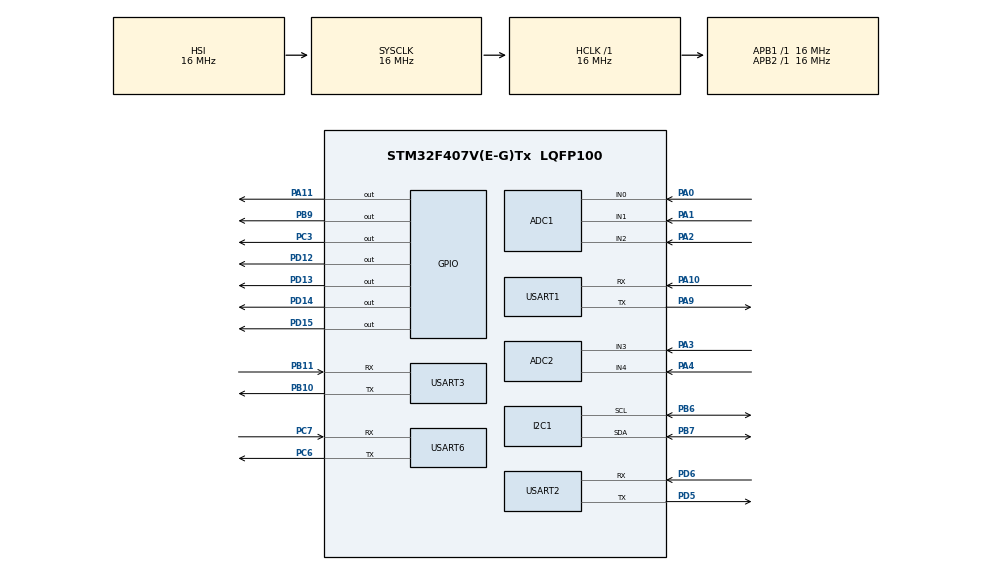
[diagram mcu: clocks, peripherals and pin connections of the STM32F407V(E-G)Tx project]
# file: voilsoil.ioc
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ADC1.Channel-0\#ChannelRegularConversion=ADC_CHANNEL_0
ADC1.Channel-1\#ChannelRegularConversion=ADC_CHANNEL_1
ADC1.Channel-2\#ChannelRegularConversion=ADC_CHANNEL_2
ADC1.NbrOfConversion=3
ADC1.NbrOfConversionFlag=1
ADC1.Rank-0\#ChannelRegularConversion=1
ADC1.Rank-1\#ChannelRegularConversion=2
ADC1.Rank-2\#ChannelRegularConversion=3
ADC1.SamplingTime-0\#ChannelRegularConversion=ADC_SAMPLETIME_3CYCLES
ADC1.SamplingTime-1\#ChannelRegularConversion=ADC_SAMPLETIME_3CYCLES
ADC1.SamplingTime-2\#ChannelRegularConversion=ADC_SAMPLETIME_3CYCLES
ADC1.ScanConvMode=ENABLE
ADC1.master=1
ADC2.Channel-1\#ChannelRegularConversion=ADC_CHANNEL_3
ADC2.Channel-2\#ChannelRegularConversion=ADC_CHANNEL_4
ADC2.NbrOfConversion=2
ADC2.NbrOfConversionFlag=1
ADC2.Rank-1\#ChannelRegularConversion=1
ADC2.Rank-2\#ChannelRegularConversion=2
ADC2.SamplingTime-1\#ChannelRegularConversion=ADC_SAMPLETIME_3CYCLES
ADC2.SamplingTime-2\#ChannelRegularConversion=ADC_SAMPLETIME_3CYCLES
ADC2.ScanConvMode=ENABLE
Dma.ADC1.0.Direction=DMA_PERIPH_TO_MEMORY
Dma.ADC1.0.FIFOMode=DMA_FIFOMODE_DISABLE
Dma.ADC1.0.Instance=DMA2_Stream0
Dma.ADC1.0.MemDataAlignment=DMA_MDATAALIGN_HALFWORD
Dma.ADC1.0.MemInc=DMA_MINC_ENABLE
Dma.ADC1.0.Mode=DMA_NORMAL
Dma.ADC1.0.PeriphDataAlignment=DMA_PDATAALIGN_HALFWORD
Dma.ADC1.0.PeriphInc=DMA_PINC_DISABLE
Dma.ADC1.0.Priority=DMA_PRIORITY_LOW
Dma.ADC2.1.Direction=DMA_PERIPH_TO_MEMORY
Dma.ADC2.1.FIFOMode=DMA_FIFOMODE_DISABLE
Dma.ADC2.1.Instance=DMA2_Stream2
Dma.ADC2.1.MemDataAlignment=DMA_MDATAALIGN_HALFWORD
Dma.ADC2.1.MemInc=DMA_MINC_ENABLE
Dma.ADC2.1.Mode=DMA_NORMAL
Dma.ADC2.1.PeriphDataAlignment=DMA_PDATAALIGN_HALFWORD
Dma.ADC2.1.PeriphInc=DMA_PINC_DISABLE
Dma.ADC2.1.Priority=DMA_PRIORITY_LOW
Dma.Request0=ADC1
Dma.Request1=ADC2
Mcu.Family=STM32F4
Mcu.Name=STM32F407V(E-G)Tx
Mcu.Package=LQFP100
NVIC.ADC_IRQn=true\:1\:0\:true\:false\:true\:true\:true\:true
NVIC.DMA2_Stream0_IRQn=true\:0\:0\:false\:false\:true\:false\:true\:true
NVIC.DMA2_Stream2_IRQn=true\:0\:0\:false\:false\:true\:false\:true\:true
NVIC.PriorityGroup=NVIC_PRIORITYGROUP_4
NVIC.TIM2_IRQn=true\:0\:0\:false\:false\:true\:true\:true\:true
NVIC.TIM3_IRQn=true\:0\:0\:false\:false\:true\:true\:true\:true
NVIC.TIM4_IRQn=true\:0\:0\:false\:false\:true\:true\:true\:true
PA0-WKUP.Signal=ADCx_IN0
PA1.Signal=ADCx_IN1
PA10.Mode=Asynchronous
PA10.Signal=USART1_RX
PA11.Signal=GPIO_Output
PA13.Mode=Serial_Wire
PA13.Signal=SYS_JTMS-SWDIO
PA14.Mode=Serial_Wire
PA14.Signal=SYS_JTCK-SWCLK
PA2.Signal=ADCx_IN2
PA3.Signal=ADCx_IN3
PA4.Signal=ADCx_IN4
PA9.Mode=Asynchronous
PA9.Signal=USART1_TX
PB10.Mode=Asynchronous
PB10.Signal=USART3_TX
PB11.Mode=Asynchronous
PB11.Signal=USART3_RX
PB6.Mode=I2C
PB6.Signal=I2C1_SCL
PB7.Mode=I2C
PB7.Signal=I2C1_SDA
PB9.GPIO_PuPd=GPIO_PULLUP
PB9.Signal=GPIO_Output
PC14-OSC32_IN.Mode=LSE-External-Oscillator
PC14-OSC32_IN.Signal=RCC_OSC32_IN
PC15-OSC32_OUT.Mode=LSE-External-Oscillator
PC15-OSC32_OUT.Signal=RCC_OSC32_OUT
PC3.Signal=GPIO_Output
PC6.Mode=Asynchronous
PC6.Signal=USART6_TX
PC7.Mode=Asynchronous
PC7.Signal=USART6_RX
PD12.Signal=GPIO_Output
PD13.Signal=GPIO_Output
PD14.Signal=GPIO_Output
PD15.Signal=GPIO_Output
PD5.Mode=Asynchronous
PD5.Signal=USART2_TX
PD6.Mode=Asynchronous
PD6.Signal=USART2_RX
PH0-OSC_IN.Mode=HSE-External-Oscillator
PH0-OSC_IN.Signal=RCC_OSC_IN
PH1-OSC_OUT.Mode=HSE-External-Oscillator
PH1-OSC_OUT.Signal=RCC_OSC_OUT
ProjectManager.HeapSize=0x200
ProjectManager.StackSize=0x400
ProjectManager.TargetToolchain=STM32CubeIDE
RCC.AHBFreq_Value=16000000
RCC.APB1Freq_Value=16000000
RCC.APB2Freq_Value=16000000
RCC.CortexFreq_Value=16000000
RCC.HSE_VALUE=25000000
RCC.HSI_VALUE=16000000
RCC.SYSCLKFreq_VALUE=16000000
RCC.VCOOutputFreq_Value=192000000
SH.ADCx_IN0.0=ADC1_IN0,IN0
SH.ADCx_IN1.0=ADC1_IN1,IN1
SH.ADCx_IN2.0=ADC1_IN2,IN2
SH.ADCx_IN3.0=ADC2_IN3,IN3
SH.ADCx_IN4.0=ADC2_IN4,IN4
TIM1.Period=20000
TIM1.Prescaler=7220
TIM2.Period=2000
TIM2.Prescaler=7200
TIM3.Period=500
TIM3.Prescaler=7200
TIM4.Period=2000
TIM4.Prescaler=7200
USART1.VirtualMode=VM_ASYNC
USART2.VirtualMode=VM_ASYNC
USART3.VirtualMode=VM_ASYNC
USART6.VirtualMode=VM_ASYNC
VP_TIM1_VS_ClockSourceINT.Mode=Internal
VP_TIM2_VS_ClockSourceINT.Mode=Internal
VP_TIM3_VS_ClockSourceINT.Mode=Internal
VP_TIM4_VS_ClockSourceINT.Mode=Internal
board=custom

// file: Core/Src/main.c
/* USER CODE BEGIN Header */
		/**
		  ******************************************************************************
		  * @file           : main.c
		  * @brief          : Main program body
		  ******************************************************************************
		  * @attention
		  *
		  * Copyright (c) 2025 STMicroelectronics.
		  * All rights reserved.
		  *
		  * This software is licensed under terms that can be found in the LICENSE file
		  * in the root directory of this software component.
		  * If no LICENSE file comes with this software, it is provided AS-IS.
		  *
		  ******************************************************************************
		  */
/* USER CODE END Header */
#include "main.h"

/* USER CODE BEGIN PD */

		#define DHT11_PORT GPIOB
		#define DHT11_PIN  GPIO_PIN_9
/* USER CODE END PD */

ADC_HandleTypeDef hadc1;
ADC_HandleTypeDef hadc2;
DMA_HandleTypeDef hdma_adc1;
DMA_HandleTypeDef hdma_adc2;

I2C_HandleTypeDef hi2c1;

TIM_HandleTypeDef htim1;
TIM_HandleTypeDef htim2;
TIM_HandleTypeDef htim3;
TIM_HandleTypeDef htim4;

UART_HandleTypeDef huart1;
UART_HandleTypeDef huart2;
UART_HandleTypeDef huart3;
UART_HandleTypeDef huart6;

/* USER CODE BEGIN PV */
/* USER CODE BEGIN PV */
uint32_t last_buzzer_toggle = 0;
uint8_t buzzer_state = 0; // 0 = off, 1 = on
/* USER CODE END PV */

		float ph = 0.0f;
		uint32_t adc_value;
		float voltage;

		uint16_t gaz;
		uint16_t pluit;
		uint16_t lum=0;
		char texto[50];
		#define ADC_REF_VOLTAGE 5.0f      // Your reference voltage
		#define ADC_RESOLUTION  4095.0f
		#define PH_SENSOR_THRESHOLD 100
		#define FLOATING_PIN_THRESHOLD 50

		#define V_REF 3.3f     // windspeed declaration #define V_REF 3.3f               // Reference voltage for ADC
		#define MAX_ADC 4095.0f          // Maximum ADC value for 12-bit
		#define ANEMOMETER_MIN_V 0.4f    // Voltage at 0 m/s wind speed
		#define ANEMOMETER_MAX_V 2.0f    // Voltage at maximum wind speed
		#define MAX_WIND_SPEED 32.4f     // Maximum measurable wind speed in m/s (adjust as needed)

		// Conversion constants
		#define VOLTS_PER_ADC (V_REF/MAX_ADC)

/* USER CODE END PV */

void SystemClock_Config(void);
static void MX_GPIO_Init(void);
static void MX_DMA_Init(void);
static void MX_ADC1_Init(void);
static void MX_I2C1_Init(void);
static void MX_USART1_UART_Init(void);
static void MX_TIM2_Init(void);
static void MX_ADC2_Init(void);
static void MX_TIM3_Init(void);
static void MX_TIM1_Init(void);
static void MX_TIM4_Init(void);
static void MX_USART2_UART_Init(void);
static void MX_USART3_UART_Init(void);
static void MX_USART6_UART_Init(void);
/* USER CODE BEGIN PFP */
		float calculate_wind_speed(uint32_t adc_val);
		void update_wind_speed(void);

/* USER CODE END PFP */

/* USER CODE BEGIN 0 */
		uint8_t convCompleted;
		void HAL_ADC_ConvCpltCallback(ADC_HandleTypeDef* hadc){
			convCompleted=1 ;
		}

		/**
		  * @brief Update wind speed measurements
		  */

		// If you want to print via UART (uncomment if you have UART configured)
		/*
		void print_wind_speed(void) {
			char buffer[50];
			sprintf(buffer, "Wind: %.1f m/s (%.1f km/h)\r\n", wind_speed_mps, wind_speed_kph);
			HAL_UART_Transmit(&huart2, (uint8_t*)buffer, strlen(buffer), HAL_MAX_DELAY);
		}
		*/

/* USER CODE END 0 */

int main(void)
{

  /* MCU Configuration--------------------------------------------------------*/

  /* Reset of all peripherals, Initializes the Flash interface and the Systick. */

	HAL_Init();

  /* Configure the system clock */
  SystemClock_Config();

  /* Initialize all configured peripherals */
  MX_GPIO_Init();
  MX_DMA_Init();
  MX_ADC1_Init();
  MX_I2C1_Init();
  MX_USART1_UART_Init();
  MX_TIM2_Init();
  MX_ADC2_Init();
  MX_TIM3_Init();
  MX_TIM1_Init();
  MX_TIM4_Init();
  MX_USART2_UART_Init();
  MX_USART3_UART_Init();
  MX_USART6_UART_Init();
  /* USER CODE BEGIN 2 */
		  BH1750_init();
		  uartx_write_text(&huart1, "INICIANDO\r\n");
			HAL_TIM_Base_Start_IT(&htim2);
			HAL_TIM_Base_Start_IT(&htim3);
			//  HAL_ADC_Start_DMA(&hadc1, (uint32_t*)rawVal, 2);
  /* USER CODE END 2 */

  /* Infinite loop */
			while (1)
			 {
				if(HAL_ADC_Start_DMA(&hadc1, (uint32_t*)rawVal, 3) == HAL_OK)
				        {
				            // Check each channel for unconnected pins
				            if(rawVal[0] < FLOATING_PIN_THRESHOLD) {
				                gaz = 0;
				                rawVal[0] = 0;
				            } else {
				                gaz = rawVal[0];
				            }

				            if(rawVal[1] < FLOATING_PIN_THRESHOLD) {
				                pluit = 0;
				                rawVal[1] = 0;
				            } else {
				                pluit = rawVal[1];
				            }

				        }
				 // Start ADC with DMA for all 3 channels
				        if(HAL_ADC_Start_DMA(&hadc2, (uint32_t*)rawVal1, 2) == HAL_OK)
				        {
				            // Check each channel for unconnected pins
				            if(rawVal1[0] < FLOATING_PIN_THRESHOLD) {
				                ph = 0;
				                rawVal1[0] = 0;
				            } else {
				                ph = (rawVal1[0] / ADC_RESOLUTION) * 14.0f;
				            }
				        }
			 }
}

void SystemClock_Config(void)
{
  RCC_OscInitTypeDef RCC_OscInitStruct = {0};
  RCC_ClkInitTypeDef RCC_ClkInitStruct = {0};

  /** Configure the main internal regulator output voltage
  */
  __HAL_RCC_PWR_CLK_ENABLE();
  __HAL_PWR_VOLTAGESCALING_CONFIG(PWR_REGULATOR_VOLTAGE_SCALE1);

  /** Initializes the RCC Oscillators according to the specified parameters
  * in the RCC_OscInitTypeDef structure.
  */
  RCC_OscInitStruct.OscillatorType = RCC_OSCILLATORTYPE_HSI;
  RCC_OscInitStruct.HSIState = RCC_HSI_ON;
  RCC_OscInitStruct.HSICalibrationValue = RCC_HSICALIBRATION_DEFAULT;
  RCC_OscInitStruct.PLL.PLLState = RCC_PLL_NONE;
  if (HAL_RCC_OscConfig(&RCC_OscInitStruct) != HAL_OK)
  {
    Error_Handler();
  }

  /** Initializes the CPU, AHB and APB buses clocks
  */
  RCC_ClkInitStruct.ClockType = RCC_CLOCKTYPE_HCLK|RCC_CLOCKTYPE_SYSCLK
                              |RCC_CLOCKTYPE_PCLK1|RCC_CLOCKTYPE_PCLK2;
  RCC_ClkInitStruct.SYSCLKSource = RCC_SYSCLKSOURCE_HSI;
  RCC_ClkInitStruct.AHBCLKDivider = RCC_SYSCLK_DIV1;
  RCC_ClkInitStruct.APB1CLKDivider = RCC_HCLK_DIV1;
  RCC_ClkInitStruct.APB2CLKDivider = RCC_HCLK_DIV1;

  if (HAL_RCC_ClockConfig(&RCC_ClkInitStruct, FLASH_LATENCY_0) != HAL_OK)
  {
    Error_Handler();
  }
}

static void MX_ADC1_Init(void)
{

  ADC_ChannelConfTypeDef sConfig = {0};

  /** Configure the global features of the ADC (Clock, Resolution, Data Alignment and number of conversion)
  */
  hadc1.Instance = ADC1;
  hadc1.Init.ClockPrescaler = ADC_CLOCK_SYNC_PCLK_DIV2;
  hadc1.Init.Resolution = ADC_RESOLUTION_12B;
  hadc1.Init.ScanConvMode = ENABLE;
  hadc1.Init.ContinuousConvMode = DISABLE;
  hadc1.Init.DiscontinuousConvMode = DISABLE;
  hadc1.Init.ExternalTrigConvEdge = ADC_EXTERNALTRIGCONVEDGE_NONE;
  hadc1.Init.ExternalTrigConv = ADC_SOFTWARE_START;
  hadc1.Init.DataAlign = ADC_DATAALIGN_RIGHT;
  hadc1.Init.NbrOfConversion = 3;
  hadc1.Init.DMAContinuousRequests = DISABLE;
  hadc1.Init.EOCSelection = ADC_EOC_SINGLE_CONV;
  if (HAL_ADC_Init(&hadc1) != HAL_OK)
  {
    Error_Handler();
  }

  /** Configure for the selected ADC regular channel its corresponding rank in the sequencer and its sample time.
  */
  sConfig.Channel = ADC_CHANNEL_0;
  sConfig.Rank = 1;
  sConfig.SamplingTime = ADC_SAMPLETIME_3CYCLES;
  if (HAL_ADC_ConfigChannel(&hadc1, &sConfig) != HAL_OK)
  {
    Error_Handler();
  }

  /** Configure for the selected ADC regular channel its corresponding rank in the sequencer and its sample time.
  */
  sConfig.Channel = ADC_CHANNEL_1;
  sConfig.Rank = 2;
  if (HAL_ADC_ConfigChannel(&hadc1, &sConfig) != HAL_OK)
  {
    Error_Handler();
  }

  /** Configure for the selected ADC regular channel its corresponding rank in the sequencer and its sample time.
  */
  sConfig.Channel = ADC_CHANNEL_2;
  sConfig.Rank = 3;
  if (HAL_ADC_ConfigChannel(&hadc1, &sConfig) != HAL_OK)
  {
    Error_Handler();
  }

}

static void MX_ADC2_Init(void)
{

  ADC_ChannelConfTypeDef sConfig = {0};

  /** Configure the global features of the ADC (Clock, Resolution, Data Alignment and number of conversion)
  */
  hadc2.Instance = ADC2;
  hadc2.Init.ClockPrescaler = ADC_CLOCK_SYNC_PCLK_DIV2;
  hadc2.Init.Resolution = ADC_RESOLUTION_12B;
  hadc2.Init.ScanConvMode = ENABLE;
  hadc2.Init.ContinuousConvMode = DISABLE;
  hadc2.Init.DiscontinuousConvMode = DISABLE;
  hadc2.Init.ExternalTrigConvEdge = ADC_EXTERNALTRIGCONVEDGE_NONE;
  hadc2.Init.ExternalTrigConv = ADC_SOFTWARE_START;
  hadc2.Init.DataAlign = ADC_DATAALIGN_RIGHT;
  hadc2.Init.NbrOfConversion = 2;
  hadc2.Init.DMAContinuousRequests = DISABLE;
  hadc2.Init.EOCSelection = ADC_EOC_SINGLE_CONV;
  if (HAL_ADC_Init(&hadc2) != HAL_OK)
  {
    Error_Handler();
  }

  /** Configure for the selected ADC regular channel its corresponding rank in the sequencer and its sample time.
  */
  sConfig.Channel = ADC_CHANNEL_3;
  sConfig.Rank = 1;
  sConfig.SamplingTime = ADC_SAMPLETIME_3CYCLES;
  if (HAL_ADC_ConfigChannel(&hadc2, &sConfig) != HAL_OK)
  {
    Error_Handler();
  }

  /** Configure for the selected ADC regular channel its corresponding rank in the sequencer and its sample time.
  */
  sConfig.Channel = ADC_CHANNEL_4;
  sConfig.Rank = 2;
  if (HAL_ADC_ConfigChannel(&hadc2, &sConfig) != HAL_OK)
  {
    Error_Handler();
  }

}

static void MX_I2C1_Init(void)
{

  hi2c1.Instance = I2C1;
  hi2c1.Init.ClockSpeed = 100000;
  hi2c1.Init.DutyCycle = I2C_DUTYCYCLE_2;
  hi2c1.Init.OwnAddress1 = 0;
  hi2c1.Init.AddressingMode = I2C_ADDRESSINGMODE_7BIT;
  hi2c1.Init.DualAddressMode = I2C_DUALADDRESS_DISABLE;
  hi2c1.Init.OwnAddress2 = 0;
  hi2c1.Init.GeneralCallMode = I2C_GENERALCALL_DISABLE;
  hi2c1.Init.NoStretchMode = I2C_NOSTRETCH_DISABLE;
  if (HAL_I2C_Init(&hi2c1) != HAL_OK)
  {
    Error_Handler();
  }

}

static void MX_TIM1_Init(void)
{

  TIM_ClockConfigTypeDef sClockSourceConfig = {0};
  TIM_MasterConfigTypeDef sMasterConfig = {0};

  htim1.Instance = TIM1;
  htim1.Init.Prescaler = 7220;
  htim1.Init.CounterMode = TIM_COUNTERMODE_UP;
  htim1.Init.Period = 20000;
  htim1.Init.ClockDivision = TIM_CLOCKDIVISION_DIV1;
  htim1.Init.RepetitionCounter = 0;
  htim1.Init.AutoReloadPreload = TIM_AUTORELOAD_PRELOAD_DISABLE;
  if (HAL_TIM_Base_Init(&htim1) != HAL_OK)
  {
    Error_Handler();
  }
  sClockSourceConfig.ClockSource = TIM_CLOCKSOURCE_INTERNAL;
  if (HAL_TIM_ConfigClockSource(&htim1, &sClockSourceConfig) != HAL_OK)
  {
    Error_Handler();
  }
  sMasterConfig.MasterOutputTrigger = TIM_TRGO_RESET;
  sMasterConfig.MasterSlaveMode = TIM_MASTERSLAVEMODE_DISABLE;
  if (HAL_TIMEx_MasterConfigSynchronization(&htim1, &sMasterConfig) != HAL_OK)
  {
    Error_Handler();
  }

}

static void MX_TIM2_Init(void)
{

  TIM_ClockConfigTypeDef sClockSourceConfig = {0};
  TIM_MasterConfigTypeDef sMasterConfig = {0};

  htim2.Instance = TIM2;
  htim2.Init.Prescaler = 7200;
  htim2.Init.CounterMode = TIM_COUNTERMODE_UP;
  htim2.Init.Period = 2000;
  htim2.Init.ClockDivision = TIM_CLOCKDIVISION_DIV1;
  htim2.Init.AutoReloadPreload = TIM_AUTORELOAD_PRELOAD_DISABLE;
  if (HAL_TIM_Base_Init(&htim2) != HAL_OK)
  {
    Error_Handler();
  }
  sClockSourceConfig.ClockSource = TIM_CLOCKSOURCE_INTERNAL;
  if (HAL_TIM_ConfigClockSource(&htim2, &sClockSourceConfig) != HAL_OK)
  {
    Error_Handler();
  }
  sMasterConfig.MasterOutputTrigger = TIM_TRGO_RESET;
  sMasterConfig.MasterSlaveMode = TIM_MASTERSLAVEMODE_DISABLE;
  if (HAL_TIMEx_MasterConfigSynchronization(&htim2, &sMasterConfig) != HAL_OK)
  {
    Error_Handler();
  }

}

static void MX_TIM3_Init(void)
{

  TIM_ClockConfigTypeDef sClockSourceConfig = {0};
  TIM_MasterConfigTypeDef sMasterConfig = {0};

  htim3.Instance = TIM3;
  htim3.Init.Prescaler = 7200;
  htim3.Init.CounterMode = TIM_COUNTERMODE_UP;
  htim3.Init.Period = 500;
  htim3.Init.ClockDivision = TIM_CLOCKDIVISION_DIV1;
  htim3.Init.AutoReloadPreload = TIM_AUTORELOAD_PRELOAD_DISABLE;
  if (HAL_TIM_Base_Init(&htim3) != HAL_OK)
  {
    Error_Handler();
  }
  sClockSourceConfig.ClockSource = TIM_CLOCKSOURCE_INTERNAL;
  if (HAL_TIM_ConfigClockSource(&htim3, &sClockSourceConfig) != HAL_OK)
  {
    Error_Handler();
  }
  sMasterConfig.MasterOutputTrigger = TIM_TRGO_RESET;
  sMasterConfig.MasterSlaveMode = TIM_MASTERSLAVEMODE_DISABLE;
  if (HAL_TIMEx_MasterConfigSynchronization(&htim3, &sMasterConfig) != HAL_OK)
  {
    Error_Handler();
  }

}

static void MX_TIM4_Init(void)
{

  TIM_ClockConfigTypeDef sClockSourceConfig = {0};
  TIM_MasterConfigTypeDef sMasterConfig = {0};

  htim4.Instance = TIM4;
  htim4.Init.Prescaler = 7200;
  htim4.Init.CounterMode = TIM_COUNTERMODE_UP;
  htim4.Init.Period = 2000;
  htim4.Init.ClockDivision = TIM_CLOCKDIVISION_DIV1;
  htim4.Init.AutoReloadPreload = TIM_AUTORELOAD_PRELOAD_DISABLE;
  if (HAL_TIM_Base_Init(&htim4) != HAL_OK)
  {
    Error_Handler();
  }
  sClockSourceConfig.ClockSource = TIM_CLOCKSOURCE_INTERNAL;
  if (HAL_TIM_ConfigClockSource(&htim4, &sClockSourceConfig) != HAL_OK)
  {
    Error_Handler();
  }
  sMasterConfig.MasterOutputTrigger = TIM_TRGO_RESET;
  sMasterConfig.MasterSlaveMode = TIM_MASTERSLAVEMODE_DISABLE;
  if (HAL_TIMEx_MasterConfigSynchronization(&htim4, &sMasterConfig) != HAL_OK)
  {
    Error_Handler();
  }

}

static void MX_USART1_UART_Init(void)
{

  huart1.Instance = USART1;
  huart1.Init.BaudRate = 115200;
  huart1.Init.WordLength = UART_WORDLENGTH_8B;
  huart1.Init.StopBits = UART_STOPBITS_1;
  huart1.Init.Parity = UART_PARITY_NONE;
  huart1.Init.Mode = UART_MODE_TX_RX;
  huart1.Init.HwFlowCtl = UART_HWCONTROL_NONE;
  huart1.Init.OverSampling = UART_OVERSAMPLING_16;
  if (HAL_UART_Init(&huart1) != HAL_OK)
  {
    Error_Handler();
  }

}

static void MX_USART2_UART_Init(void)
{

  huart2.Instance = USART2;
  huart2.Init.BaudRate = 115200;
  huart2.Init.WordLength = UART_WORDLENGTH_8B;
  huart2.Init.StopBits = UART_STOPBITS_1;
  huart2.Init.Parity = UART_PARITY_NONE;
  huart2.Init.Mode = UART_MODE_TX_RX;
  huart2.Init.HwFlowCtl = UART_HWCONTROL_NONE;
  huart2.Init.OverSampling = UART_OVERSAMPLING_16;
  if (HAL_UART_Init(&huart2) != HAL_OK)
  {
    Error_Handler();
  }

}

static void MX_USART3_UART_Init(void)
{

  huart3.Instance = USART3;
  huart3.Init.BaudRate = 115200;
  huart3.Init.WordLength = UART_WORDLENGTH_8B;
  huart3.Init.StopBits = UART_STOPBITS_1;
  huart3.Init.Parity = UART_PARITY_NONE;
  huart3.Init.Mode = UART_MODE_TX_RX;
  huart3.Init.HwFlowCtl = UART_HWCONTROL_NONE;
  huart3.Init.OverSampling = UART_OVERSAMPLING_16;
  if (HAL_UART_Init(&huart3) != HAL_OK)
  {
    Error_Handler();
  }

}

static void MX_USART6_UART_Init(void)
{

  huart6.Instance = USART6;
  huart6.Init.BaudRate = 115200;
  huart6.Init.WordLength = UART_WORDLENGTH_8B;
  huart6.Init.StopBits = UART_STOPBITS_1;
  huart6.Init.Parity = UART_PARITY_NONE;
  huart6.Init.Mode = UART_MODE_TX_RX;
  huart6.Init.HwFlowCtl = UART_HWCONTROL_NONE;
  huart6.Init.OverSampling = UART_OVERSAMPLING_16;
  if (HAL_UART_Init(&huart6) != HAL_OK)
  {
    Error_Handler();
  }

}

static void MX_DMA_Init(void)
{

  /* DMA controller clock enable */
  __HAL_RCC_DMA2_CLK_ENABLE();

  /* DMA interrupt init */
  /* DMA2_Stream0_IRQn interrupt configuration */
  HAL_NVIC_SetPriority(DMA2_Stream0_IRQn, 0, 0);
  HAL_NVIC_EnableIRQ(DMA2_Stream0_IRQn);
  /* DMA2_Stream2_IRQn interrupt configuration */
  HAL_NVIC_SetPriority(DMA2_Stream2_IRQn, 0, 0);
  HAL_NVIC_EnableIRQ(DMA2_Stream2_IRQn);

}

static void MX_GPIO_Init(void)
{
  GPIO_InitTypeDef GPIO_InitStruct = {0};

  /* GPIO Ports Clock Enable */
  __HAL_RCC_GPIOC_CLK_ENABLE();
  __HAL_RCC_GPIOH_CLK_ENABLE();
  __HAL_RCC_GPIOA_CLK_ENABLE();
  __HAL_RCC_GPIOB_CLK_ENABLE();
  __HAL_RCC_GPIOD_CLK_ENABLE();

  /*Configure GPIO pin Output Level */
  HAL_GPIO_WritePin(GPIOC, GPIO_PIN_3, GPIO_PIN_RESET);

  /*Configure GPIO pin Output Level */
  HAL_GPIO_WritePin(GPIOD, GPIO_PIN_12|GPIO_PIN_13|GPIO_PIN_14|GPIO_PIN_15, GPIO_PIN_RESET);

  /*Configure GPIO pin Output Level */
  HAL_GPIO_WritePin(GPIOA, GPIO_PIN_11, GPIO_PIN_RESET);

  /*Configure GPIO pin Output Level */
  HAL_GPIO_WritePin(GPIOB, GPIO_PIN_9, GPIO_PIN_RESET);

  /*Configure GPIO pin : PC3 */
  GPIO_InitStruct.Pin = GPIO_PIN_3;
  GPIO_InitStruct.Mode = GPIO_MODE_OUTPUT_PP;
  GPIO_InitStruct.Pull = GPIO_NOPULL;
  GPIO_InitStruct.Speed = GPIO_SPEED_FREQ_LOW;
  HAL_GPIO_Init(GPIOC, &GPIO_InitStruct);

  /*Configure GPIO pins : PD12 PD13 PD14 PD15 */
  GPIO_InitStruct.Pin = GPIO_PIN_12|GPIO_PIN_13|GPIO_PIN_14|GPIO_PIN_15;
  GPIO_InitStruct.Mode = GPIO_MODE_OUTPUT_PP;
  GPIO_InitStruct.Pull = GPIO_NOPULL;
  GPIO_InitStruct.Speed = GPIO_SPEED_FREQ_LOW;
  HAL_GPIO_Init(GPIOD, &GPIO_InitStruct);

  /*Configure GPIO pin : PA11 */
  GPIO_InitStruct.Pin = GPIO_PIN_11;
  GPIO_InitStruct.Mode = GPIO_MODE_OUTPUT_PP;
  GPIO_InitStruct.Pull = GPIO_NOPULL;
  GPIO_InitStruct.Speed = GPIO_SPEED_FREQ_LOW;
  HAL_GPIO_Init(GPIOA, &GPIO_InitStruct);

  /*Configure GPIO pin : PB9 */
  GPIO_InitStruct.Pin = GPIO_PIN_9;
  GPIO_InitStruct.Mode = GPIO_MODE_OUTPUT_PP;
  GPIO_InitStruct.Pull = GPIO_PULLUP;
  GPIO_InitStruct.Speed = GPIO_SPEED_FREQ_LOW;
  HAL_GPIO_Init(GPIOB, &GPIO_InitStruct);

}

/* USER CODE BEGIN 4 */
/* USER CODE BEGIN 4 */
void HAL_TIM_PeriodElapsedCallback(TIM_HandleTypeDef *htim)
{
    static uint32_t last_buzzer_toggle = 0;
    uint32_t current_time = HAL_GetTick();

    if(htim->Instance == TIM2)
    {
        HAL_GPIO_TogglePin(GPIOD, GPIO_PIN_12|GPIO_PIN_13);

        // Start ADC with DMA for all 3 channels

    }

    if(htim->Instance == TIM3)
    {
        HAL_GPIO_TogglePin(GPIOD, GPIO_PIN_14|GPIO_PIN_15);

    }
}
/* USER CODE END 4 */

void Error_Handler(void)
{
		  __disable_irq();
		  while (1)
		  {
		  }
}
